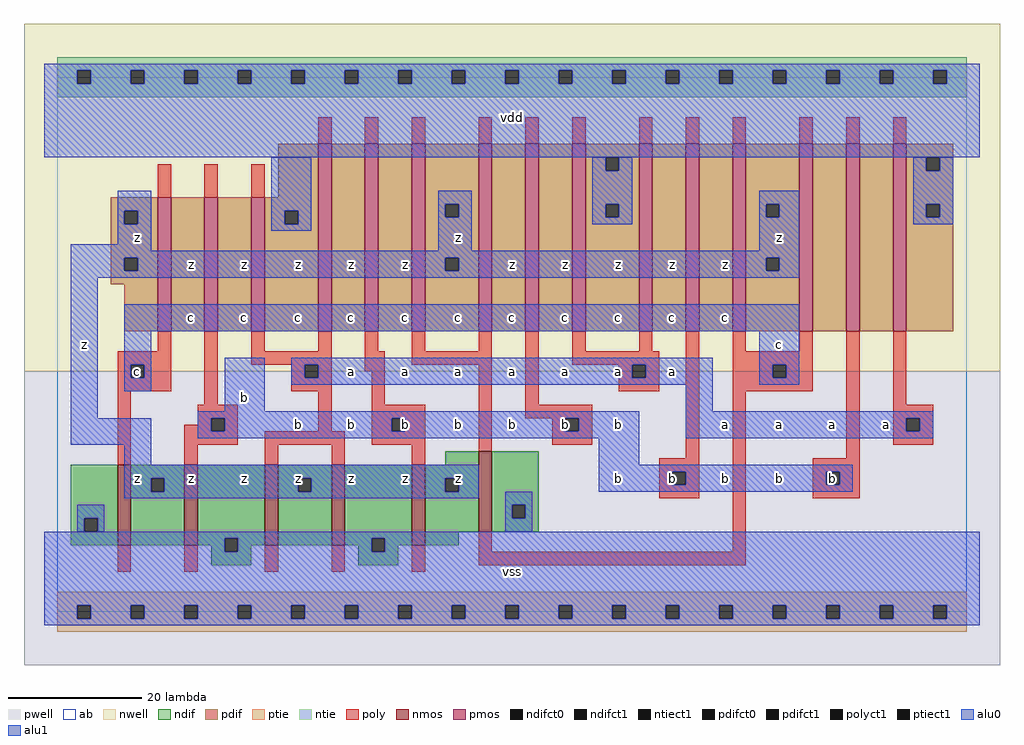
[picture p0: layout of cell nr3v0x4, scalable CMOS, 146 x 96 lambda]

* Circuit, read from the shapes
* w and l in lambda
.subckt nr3v0x4 a b c vdd vss z
M1 z c vss vss nfet w=12 l=2 m=2
M2 vss b z vss nfet w=12 l=2 m=2
M3 z a vss vss nfet w=12 l=2 m=2
M4 n1 c z vdd pfet w=20 l=2
M5 n2 b n1 vdd pfet w=20 l=2
M6 vdd a n2 vdd pfet w=20 l=2
M7 n3 a vdd vdd pfet w=28 l=2
M8 n4 b n3 vdd pfet w=28 l=2
M9 z c n4 vdd pfet w=28 l=2
M10 n5 c z vdd pfet w=28 l=2
M11 n6 b n5 vdd pfet w=28 l=2
M12 vdd a n6 vdd pfet w=28 l=2
M13 n7 a vdd vdd pfet w=28 l=2
M14 n8 b n7 vdd pfet w=28 l=2
M15 z c n8 vdd pfet w=28 l=2
M16 n9 c z vdd pfet w=28 l=2
M17 n10 b n9 vdd pfet w=28 l=2
M18 vdd a n10 vdd pfet w=28 l=2
.ends

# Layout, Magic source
magic
tech scmos
<< ab >>
rect 0 0 136 80
<< nwell >>
rect -5 36 141 88
<< pwell >>
rect -5 -8 141 36
<< poly >>
rect 39 70 41 74
rect 46 70 48 74
rect 53 70 55 74
rect 63 70 65 74
rect 70 70 72 74
rect 77 70 79 74
rect 87 70 89 74
rect 94 70 96 74
rect 101 70 103 74
rect 111 70 113 74
rect 118 70 120 74
rect 125 70 127 74
rect 15 62 17 67
rect 22 62 24 67
rect 29 62 31 67
rect 15 39 17 42
rect 9 37 17 39
rect 9 35 11 37
rect 13 35 17 37
rect 9 33 17 35
rect 9 22 11 33
rect 22 31 24 42
rect 29 39 31 42
rect 39 39 41 42
rect 29 37 41 39
rect 35 35 37 37
rect 39 35 41 37
rect 46 39 48 42
rect 53 39 55 42
rect 63 39 65 42
rect 46 36 49 39
rect 53 37 65 39
rect 35 33 41 35
rect 21 29 27 31
rect 21 28 23 29
rect 19 27 23 28
rect 25 27 27 29
rect 39 27 41 33
rect 47 31 49 36
rect 47 29 55 31
rect 47 27 50 29
rect 52 27 55 29
rect 19 25 27 27
rect 31 25 43 27
rect 47 25 55 27
rect 19 22 21 25
rect 31 22 33 25
rect 41 22 43 25
rect 53 22 55 25
rect 63 24 65 37
rect 70 31 72 42
rect 77 39 79 42
rect 87 39 89 42
rect 77 37 90 39
rect 84 35 86 37
rect 88 35 90 37
rect 84 33 90 35
rect 70 29 80 31
rect 74 27 76 29
rect 78 27 80 29
rect 74 25 80 27
rect 9 6 11 10
rect 19 6 21 10
rect 31 6 33 10
rect 41 6 43 10
rect 94 23 96 42
rect 90 21 96 23
rect 90 19 92 21
rect 94 19 96 21
rect 90 17 96 19
rect 101 39 103 42
rect 111 39 113 42
rect 101 37 113 39
rect 101 35 107 37
rect 109 35 113 37
rect 101 33 113 35
rect 53 6 55 10
rect 63 9 65 12
rect 101 9 103 33
rect 118 23 120 42
rect 125 31 127 42
rect 125 29 131 31
rect 125 27 127 29
rect 129 27 131 29
rect 125 25 131 27
rect 113 21 120 23
rect 113 19 115 21
rect 117 19 120 21
rect 113 17 120 19
rect 63 7 103 9
<< ndif >>
rect 58 22 63 24
rect 2 14 9 22
rect 2 12 4 14
rect 6 12 9 14
rect 2 10 9 12
rect 11 20 19 22
rect 11 18 14 20
rect 16 18 19 20
rect 11 10 19 18
rect 21 11 31 22
rect 21 10 25 11
rect 23 9 25 10
rect 27 10 31 11
rect 33 20 41 22
rect 33 18 36 20
rect 38 18 41 20
rect 33 10 41 18
rect 43 11 53 22
rect 43 10 47 11
rect 27 9 29 10
rect 23 7 29 9
rect 45 9 47 10
rect 49 10 53 11
rect 55 20 63 22
rect 55 18 58 20
rect 60 18 63 20
rect 55 12 63 18
rect 65 16 72 24
rect 65 14 68 16
rect 70 14 72 16
rect 65 12 72 14
rect 55 10 60 12
rect 49 9 51 10
rect 45 7 51 9
<< pdif >>
rect 33 62 39 70
rect 8 60 15 62
rect 8 58 10 60
rect 12 58 15 60
rect 8 53 15 58
rect 8 51 10 53
rect 12 51 15 53
rect 8 49 15 51
rect 10 42 15 49
rect 17 42 22 62
rect 24 42 29 62
rect 31 60 39 62
rect 31 58 34 60
rect 36 58 39 60
rect 31 42 39 58
rect 41 42 46 70
rect 48 42 53 70
rect 55 61 63 70
rect 55 59 58 61
rect 60 59 63 61
rect 55 53 63 59
rect 55 51 58 53
rect 60 51 63 53
rect 55 42 63 51
rect 65 42 70 70
rect 72 42 77 70
rect 79 68 87 70
rect 79 66 82 68
rect 84 66 87 68
rect 79 61 87 66
rect 79 59 82 61
rect 84 59 87 61
rect 79 42 87 59
rect 89 42 94 70
rect 96 42 101 70
rect 103 61 111 70
rect 103 59 106 61
rect 108 59 111 61
rect 103 53 111 59
rect 103 51 106 53
rect 108 51 111 53
rect 103 42 111 51
rect 113 42 118 70
rect 120 42 125 70
rect 127 68 134 70
rect 127 66 130 68
rect 132 66 134 68
rect 127 61 134 66
rect 127 59 130 61
rect 132 59 134 61
rect 127 42 134 59
<< alu1 >>
rect -2 81 138 82
rect -2 79 3 81
rect 5 79 11 81
rect 13 79 19 81
rect 21 79 27 81
rect 29 79 35 81
rect 37 79 43 81
rect 45 79 51 81
rect 53 79 59 81
rect 61 79 67 81
rect 69 79 75 81
rect 77 79 83 81
rect 85 79 91 81
rect 93 79 99 81
rect 101 79 107 81
rect 109 79 115 81
rect 117 79 123 81
rect 125 79 131 81
rect 133 79 138 81
rect -2 68 138 79
rect 9 60 14 63
rect 9 58 10 60
rect 12 58 14 60
rect 9 55 14 58
rect 57 61 62 63
rect 57 59 58 61
rect 60 59 62 61
rect 2 54 14 55
rect 57 54 62 59
rect 105 61 111 63
rect 105 59 106 61
rect 108 59 111 61
rect 105 54 111 59
rect 2 53 111 54
rect 2 51 10 53
rect 12 51 58 53
rect 60 51 106 53
rect 108 51 111 53
rect 2 50 111 51
rect 2 29 6 50
rect 10 42 111 46
rect 10 37 14 42
rect 10 35 11 37
rect 13 35 14 37
rect 10 33 14 35
rect 25 30 31 38
rect 35 37 98 38
rect 35 35 37 37
rect 39 35 86 37
rect 88 35 98 37
rect 35 34 98 35
rect 105 37 111 42
rect 105 35 107 37
rect 109 35 111 37
rect 105 34 111 35
rect 94 30 98 34
rect 21 29 87 30
rect 2 25 14 29
rect 21 27 23 29
rect 25 27 50 29
rect 52 27 76 29
rect 78 27 87 29
rect 21 26 87 27
rect 94 29 131 30
rect 94 27 127 29
rect 129 27 131 29
rect 94 26 131 27
rect 10 22 14 25
rect 81 22 87 26
rect 10 20 63 22
rect 10 18 14 20
rect 16 18 36 20
rect 38 18 58 20
rect 60 18 63 20
rect 81 21 119 22
rect 81 19 92 21
rect 94 19 115 21
rect 117 19 119 21
rect 81 18 119 19
rect 10 17 63 18
rect -2 11 138 12
rect -2 9 25 11
rect 27 9 47 11
rect 49 9 138 11
rect -2 1 138 9
rect -2 -1 3 1
rect 5 -1 11 1
rect 13 -1 19 1
rect 21 -1 27 1
rect 29 -1 35 1
rect 37 -1 43 1
rect 45 -1 51 1
rect 53 -1 59 1
rect 61 -1 67 1
rect 69 -1 75 1
rect 77 -1 83 1
rect 85 -1 91 1
rect 93 -1 99 1
rect 101 -1 107 1
rect 109 -1 115 1
rect 117 -1 123 1
rect 125 -1 131 1
rect 133 -1 138 1
rect -2 -2 138 -1
<< ptie >>
rect 0 1 136 3
rect 0 -1 3 1
rect 5 -1 11 1
rect 13 -1 19 1
rect 21 -1 27 1
rect 29 -1 35 1
rect 37 -1 43 1
rect 45 -1 51 1
rect 53 -1 59 1
rect 61 -1 67 1
rect 69 -1 75 1
rect 77 -1 83 1
rect 85 -1 91 1
rect 93 -1 99 1
rect 101 -1 107 1
rect 109 -1 115 1
rect 117 -1 123 1
rect 125 -1 131 1
rect 133 -1 136 1
rect 0 -3 136 -1
<< ntie >>
rect 0 81 136 83
rect 0 79 3 81
rect 5 79 11 81
rect 13 79 19 81
rect 21 79 27 81
rect 29 79 35 81
rect 37 79 43 81
rect 45 79 51 81
rect 53 79 59 81
rect 61 79 67 81
rect 69 79 75 81
rect 77 79 83 81
rect 85 79 91 81
rect 93 79 99 81
rect 101 79 107 81
rect 109 79 115 81
rect 117 79 123 81
rect 125 79 131 81
rect 133 79 136 81
rect 0 77 136 79
<< nmos >>
rect 9 10 11 22
rect 19 10 21 22
rect 31 10 33 22
rect 41 10 43 22
rect 53 10 55 22
rect 63 12 65 24
<< pmos >>
rect 15 42 17 62
rect 22 42 24 62
rect 29 42 31 62
rect 39 42 41 70
rect 46 42 48 70
rect 53 42 55 70
rect 63 42 65 70
rect 70 42 72 70
rect 77 42 79 70
rect 87 42 89 70
rect 94 42 96 70
rect 101 42 103 70
rect 111 42 113 70
rect 118 42 120 70
rect 125 42 127 70
<< polyct1 >>
rect 11 35 13 37
rect 37 35 39 37
rect 23 27 25 29
rect 50 27 52 29
rect 86 35 88 37
rect 76 27 78 29
rect 92 19 94 21
rect 107 35 109 37
rect 127 27 129 29
rect 115 19 117 21
<< ndifct0 >>
rect 4 12 6 14
rect 68 14 70 16
<< ndifct1 >>
rect 14 18 16 20
rect 25 9 27 11
rect 36 18 38 20
rect 47 9 49 11
rect 58 18 60 20
<< ntiect1 >>
rect 3 79 5 81
rect 11 79 13 81
rect 19 79 21 81
rect 27 79 29 81
rect 35 79 37 81
rect 43 79 45 81
rect 51 79 53 81
rect 59 79 61 81
rect 67 79 69 81
rect 75 79 77 81
rect 83 79 85 81
rect 91 79 93 81
rect 99 79 101 81
rect 107 79 109 81
rect 115 79 117 81
rect 123 79 125 81
rect 131 79 133 81
<< ptiect1 >>
rect 3 -1 5 1
rect 11 -1 13 1
rect 19 -1 21 1
rect 27 -1 29 1
rect 35 -1 37 1
rect 43 -1 45 1
rect 51 -1 53 1
rect 59 -1 61 1
rect 67 -1 69 1
rect 75 -1 77 1
rect 83 -1 85 1
rect 91 -1 93 1
rect 99 -1 101 1
rect 107 -1 109 1
rect 115 -1 117 1
rect 123 -1 125 1
rect 131 -1 133 1
<< pdifct0 >>
rect 34 58 36 60
rect 82 66 84 68
rect 82 59 84 61
rect 130 66 132 68
rect 130 59 132 61
<< pdifct1 >>
rect 10 58 12 60
rect 10 51 12 53
rect 58 59 60 61
rect 58 51 60 53
rect 106 59 108 61
rect 106 51 108 53
<< alu0 >>
rect 32 60 38 68
rect 80 66 82 68
rect 84 66 86 68
rect 32 58 34 60
rect 36 58 38 60
rect 32 57 38 58
rect 80 61 86 66
rect 128 66 130 68
rect 132 66 134 68
rect 80 59 82 61
rect 84 59 86 61
rect 80 58 86 59
rect 128 61 134 66
rect 128 59 130 61
rect 132 59 134 61
rect 128 58 134 59
rect 67 16 71 18
rect 3 14 7 16
rect 3 12 4 14
rect 6 12 7 14
rect 67 14 68 16
rect 70 14 71 16
rect 67 12 71 14
<< labels >>
rlabel alu1 20 20 20 20 6 z
rlabel alu1 12 20 12 20 6 z
rlabel alu1 20 44 20 44 6 c
rlabel alu1 4 40 4 40 6 z
rlabel polyct1 12 36 12 36 6 c
rlabel alu1 20 52 20 52 6 z
rlabel alu1 12 56 12 56 6 z
rlabel alu1 28 20 28 20 6 z
rlabel alu1 44 28 44 28 6 b
rlabel alu1 44 20 44 20 6 z
rlabel alu1 36 28 36 28 6 b
rlabel alu1 36 20 36 20 6 z
rlabel alu1 28 32 28 32 6 b
rlabel alu1 28 44 28 44 6 c
rlabel alu1 44 44 44 44 6 c
rlabel alu1 44 36 44 36 6 a
rlabel alu1 36 44 36 44 6 c
rlabel alu1 36 52 36 52 6 z
rlabel alu1 44 52 44 52 6 z
rlabel alu1 28 52 28 52 6 z
rlabel alu1 68 6 68 6 6 vss
rlabel alu1 52 20 52 20 6 z
rlabel alu1 52 28 52 28 6 b
rlabel alu1 68 28 68 28 6 b
rlabel alu1 76 28 76 28 6 b
rlabel alu1 60 28 60 28 6 b
rlabel alu1 60 20 60 20 6 z
rlabel alu1 52 36 52 36 6 a
rlabel alu1 52 44 52 44 6 c
rlabel alu1 68 44 68 44 6 c
rlabel alu1 76 44 76 44 6 c
rlabel alu1 76 36 76 36 6 a
rlabel alu1 68 36 68 36 6 a
rlabel alu1 60 44 60 44 6 c
rlabel alu1 60 36 60 36 6 a
rlabel alu1 68 52 68 52 6 z
rlabel alu1 76 52 76 52 6 z
rlabel alu1 52 52 52 52 6 z
rlabel alu1 60 56 60 56 6 z
rlabel alu1 68 74 68 74 6 vdd
rlabel alu1 84 20 84 20 6 b
rlabel alu1 84 28 84 28 6 b
rlabel alu1 108 28 108 28 6 a
rlabel alu1 100 28 100 28 6 a
rlabel alu1 100 20 100 20 6 b
rlabel alu1 108 20 108 20 6 b
rlabel alu1 92 20 92 20 6 b
rlabel alu1 84 36 84 36 6 a
rlabel alu1 84 44 84 44 6 c
rlabel alu1 92 44 92 44 6 c
rlabel alu1 108 40 108 40 6 c
rlabel alu1 100 44 100 44 6 c
rlabel alu1 92 36 92 36 6 a
rlabel alu1 92 52 92 52 6 z
rlabel alu1 100 52 100 52 6 z
rlabel alu1 84 52 84 52 6 z
rlabel alu1 108 56 108 56 6 z
rlabel alu1 116 28 116 28 6 a
rlabel alu1 124 28 124 28 6 a
rlabel polyct1 116 20 116 20 6 b
<< end >>
